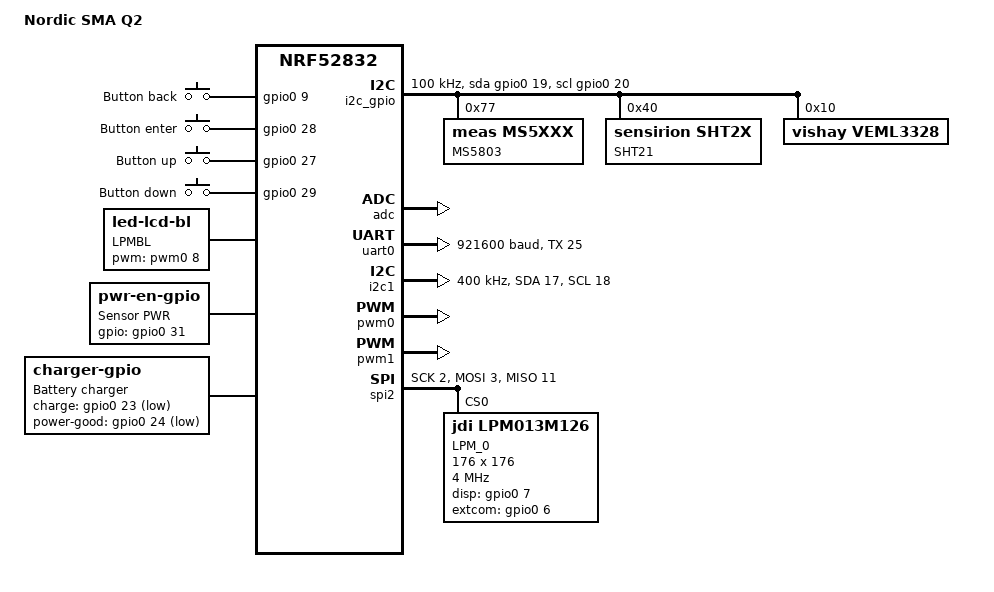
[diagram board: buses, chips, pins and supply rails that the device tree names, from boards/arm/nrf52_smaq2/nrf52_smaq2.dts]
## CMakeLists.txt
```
# SPDX-License-Identifier: Apache-2.0

cmake_minimum_required(VERSION 3.13.1)
# Re-direct the directory where the 'boards' directory is found from
# $ZEPHYR_BASE to this directory.
set(BOARD_ROOT ${CMAKE_CURRENT_LIST_DIR})

set(BOARD nrf52_smaq2)

include($ENV{ZEPHYR_BASE}/cmake/app/boilerplate.cmake NO_POLICY_SCOPE)
project(sma_q2_bringup)

target_sources(app PRIVATE 
	src/main.cpp
	src/inits.c
	src/charger.c
	src/lpm013m126.c
	src/backlight.c
	src/slowsensors.c
	src/fonts.c
	src/buttons.c
	src/msm/strservice.c
	src/bt.c
	src/rtc.c
	src/watchdog.c
	src/msm/msm_lpm13_drawer.cpp
	src/menu.cpp
	src/dispservice.cpp
	src/graph.c
	src/sensorlog.c
	src/calculs/meteomath.c
	src/calculs/daynight.c
	src/calculs/daynightimpl.c
	)

zephyr_library_include_directories(src/)
zephyr_library_include_directories(config/)
```

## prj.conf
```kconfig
CONFIG_CPLUSPLUS=y

CONFIG_FPU=y
CONFIG_NEWLIB_LIBC=y

CONFIG_ADC=y
CONFIG_PWM=y
CONFIG_WATCHDOG=y

# FIX hang
CONFIG_ZERO_LATENCY_IRQS=y

#Need this for debug only
#CONFIG_DEBUG_OPTIMIZATIONS=y
#stack
CONFIG_MAIN_STACK_SIZE=2048

#Debug
#CONFIG_SHELL=y
#CONFIG_KERNEL_SHELL=y
#CONFIG_THREAD_MONITOR=y
#CONFIG_THREAD_NAME=y
#CONFIG_INIT_STACKS=y
#CONFIG_THREAD_STACK_INFO=y
#CONFIG_REBOOT=y
#CONFIG_GPIO_SHELL=y
CONFIG_LOG=y

# Incresed stack due to settings API usage
CONFIG_SYSTEM_WORKQUEUE_STACK_SIZE=2048

CONFIG_BT=y
#CONFIG_BT_DEBUG_LOG=y
CONFIG_BT_SMP=y
CONFIG_BT_SIGNING=y
CONFIG_BT_PERIPHERAL=y
CONFIG_BT_ATT_PREPARE_COUNT=5
CONFIG_BT_MAX_PAIRED=4
CONFIG_BT_BAS=y
#CONFIG_BT_PRIVACY=y
CONFIG_BT_DEVICE_NAME="Zephyr Peripheral Sample Long Name"
CONFIG_BT_DEVICE_APPEARANCE=0
CONFIG_BT_DEVICE_NAME_DYNAMIC=y
CONFIG_BT_DEVICE_NAME_MAX=40
#BT timing
CONFIG_BT_PERIPHERAL_PREF_MIN_INT=24
CONFIG_BT_PERIPHERAL_PREF_MAX_INT=80
CONFIG_BT_PERIPHERAL_PREF_TIMEOUT=100
CONFIG_BT_KEYS_OVERWRITE_OLDEST=y
CONFIG_BT_SETTINGS=y

CONFIG_FLASH=y
CONFIG_FLASH_PAGE_LAYOUT=y
CONFIG_FLASH_MAP=y
CONFIG_FCB=y
CONFIG_SETTINGS=y
CONFIG_SETTINGS_FCB=y

# CONFIG_BT_DEBUG_SMP=y
#Number of connections. Leave 1 pls.
CONFIG_BT_MAX_CONN=1

# Large MTU
#CONFIG_BT_HCI_ACL_FLOW_CONTROL=y
#CONFIG_BT_ACL_RX_COUNT=4
#CONFIG_BT_L2CAP_TX_MTU=512
#CONFIG_BT_L2CAP_RX_MTU=512
#CONFIG_BT_CTLR_TX_BUFFER_SIZE=248
#CONFIG_BT_CTLR_DATA_LENGTH_MAX=248

#PM
CONFIG_SYS_POWER_MANAGEMENT=y
# This is not requred and caused freezing
#CONFIG_SYS_POWER_DEEP_SLEEP_STATES=y
# Required to disable default behavior of deep sleep on timeout
# CONFIG_SYS_PM_STATE_LOCK=y
CONFIG_DEVICE_POWER_MANAGEMENT=y

#Move to Bitbang I2C due to NRF i2c issue
CONFIG_I2C=y
CONFIG_I2C_GPIO=y

#FIXME
CONFIG_LEGACY_DEVICETREE_MACROS=y
```

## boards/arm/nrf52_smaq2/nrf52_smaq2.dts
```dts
/*
 *
 * SPDX-License-Identifier: Apache-2.0
 */

/dts-v1/;

#include <nordic/nrf52832_qfaa.dtsi>

/ {
    model = "Nordic SMA Q2";
    compatible = "nordic,sma-q2";

    chosen {
        zephyr,console = &uart0;
        zephyr,shell-uart = &uart0;
        zephyr,bt-mon-uart = &uart0;
        zephyr,bt-c2h-uart = &uart0;
        zephyr,sram = &sram0;
        zephyr,flash = &flash0;
        zephyr,code-partition = &slot0_partition;
    };

    /* These aliases are provided for compatibility with samples */
    aliases {
        sw0 = &button_back;
        watchdog0 = &wdt0;
    };

    buttons {
        compatible = "gpio-keys";
        button_back: button_back {
            gpios = <&gpio0 9 GPIO_PULL_UP>;
            label = "Button back";
        };
        button_enter: button_enter {
            gpios = <&gpio0 28 GPIO_PULL_UP>;
            label = "Button enter";
        };
        button_up: button_up {
            gpios = <&gpio0 27 GPIO_PULL_UP>;
            label = "Button up";
        };
        button_down: button_down {
            gpios = <&gpio0 29 GPIO_PULL_UP>;
            label = "Button down";
        };
    };
    backlight: backlight0 {
        compatible = "led-lcd-bl";
        // gpios = <&gpio0 8 0>;
        pwms = <&pwm0 8>;
        label = "LPMBL";
    };
    poweron: sensor-power-gpio {
        compatible = "pwr-en-gpio";
        gpios = <&gpio0 31 0>;
        label = "Sensor PWR";
    };

    charger_gpio: charger_gpio0 {
        compatible = "charger-gpio";
        charge-gpios = <&gpio0 23 GPIO_ACTIVE_LOW>;
        power-good-gpios = <&gpio0 24 GPIO_ACTIVE_LOW>;
        label = "Battery charger";
    };

    vbat-adc-mon {
        compatible = "adc-vbat";
        adcs = <&adc>;
        gain_nom = < 1 >;
        gain_denom = < 2 >;
        channel = < 3 >;
        multiplyer = <4800>;
        shift = <12>;
        label = "Battery_monitor";
    };

    i2c_gpio {
        clock-frequency = <I2C_BITRATE_STANDARD>;
        compatible = "gpio-i2c";
        sda-gpios = <&gpio0 19 (GPIO_SINGLE_ENDED | GPIO_OPEN_DRAIN) >;
        scl-gpios = <&gpio0 20 (GPIO_SINGLE_ENDED | GPIO_OPEN_DRAIN) >;
        status = "okay";
        label = "SENSOR_I2C";
        #address-cells = <1>;
        #size-cells = <0>;
        ms5803@77 {
            compatible = "meas,ms5xxx";
            reg = <0x77>;
            label = "MS5803";
            model_num = <5803>;
        };
        sht21@40 {
            compatible = "sensirion,sht2x";
            reg = <0x40>;
            label = "SHT21";
        };
        veml3328@10 {
            compatible = "vishay,veml3328";
            reg = <0x10>;
            label = "VEML3328";
        };
    };
};

&adc {
    status = "okay";
    #adc-cells = <0>;
};

&gpiote {
    status = "okay";
};

&gpio0 {
    status = "okay";
};

&uart0 {
    status = "okay";
    compatible = "nordic,nrf-uart";
    current-speed = <921600>;
    tx-pin = <25>;
    /* rx-pin = <26>; */
};

/*&i2c0 {
    clock-frequency = <I2C_BITRATE_FAST>;
    compatible = "nordic,nrf-twim";
    sda-pin = <19>;
    scl-pin = <20>;
    status = "okay";
    ms5803@77 {
        compatible = "meas,ms5xxx";
        reg = <0x77>;
        label = "MS5803";
        model_num = <5803>;
    };
    sht21@40 {
        compatible = "sensirion,sht2x";
        reg = <0x40>;
        label = "SHT21";
    };
    veml3328@10 {
        compatible = "vishay,veml3328";
        reg = <0x10>;
        label = "VEML3328";
    };
};*/

&i2c1 {
/*    status = "okay"; */
    clock-frequency = <I2C_BITRATE_FAST>;
    compatible = "nordic,nrf-twim";
    sda-pin = <17>;
    scl-pin = <18>;
};


&pwm0 {
    status = "okay";
    ch0-pin = <8>;
};

&pwm1 {
    status = "okay";
    ch0-pin = <6>;
};

&spi2 {
    compatible = "nordic,nrf-spim";
    status = "okay";
    sck-pin = <2>;
    mosi-pin = <3>;
    miso-pin = <11>;
    label = "SPI_2";
    lpm013mc126@0 {
        compatible = "jdi,lpm013m126";
        reg = <0>;
        spi-max-frequency = <4000000>;
        label = "LPM_0";
        width = <176>;
        height = <176>;
        cs-gpios = <&gpio0 5 0>;
        disp-gpios = <&gpio0 7 0>;
        extcom-gpios = <&gpio0 6 0>;
        #pwm-cells = <1>;
        // pwms = <&pwm1 6>;
    };        
};


&flash0 {
    /*
     * If chosen's zephyr,code-partition
     * is unset, the image will be linked
     * into the entire flash device.  If
     * it points to an individual
     * partition, the code will be linked
     * to, and restricted to that
     * partition.
     */
    partitions {
        compatible = "fixed-partitions";
        #address-cells = <1>;
        #size-cells = <1>;

        boot_partition: partition@0 {
            label = "mcuboot";
            reg = <0x00000000 0xc000>;
        };
        slot0_partition: partition@c000 {
            label = "image-0";
            reg = <0x0000C000 0x32000>;
        };
        slot1_partition: partition@3e000 {
            label = "image-1";
            reg = <0x0003E000 0x32000>;
        };
        scratch_partition: partition@70000 {
            label = "image-scratch";
            reg = <0x00070000 0xa000>;
        };

        /*
         * The flash starting at 0x0007a000 and ending at
         * 0x0007ffff (sectors 122-127) is reserved for use
         * by the application. If enabled, partition for NFFS
         * will be created in this area.
         */
        storage_partition: partition@7a000 {
            label = "storage";
            reg = <0x0007a000 0x00006000>;
        };
    };
};
// Connector pinout:
// --------------------------------------------------------
// |  GND     |          |          |          | 3.3V LDO |
// |          |          |          |          | Enable:  |
// |          |          |          |          |  P31     |
// |          |          |          |          |          |
// |          |          |          |          |          |
// --------------------------------------------------------
// |          |          |          |          |          |
// |  P20     |  P19     |  P22     |  P10     |  GND     |
// |  SCL     |  SDA     |          |          |          |
// |  10k PU  |  10k PU  |          |          |          |
// |          |          |          |          |          |
// --------------------------------------------------------
```

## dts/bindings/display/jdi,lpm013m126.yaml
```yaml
title: JDI Memory LCD

description: >
    This is a LMP***m** display accessed through SPI bus,
    polarity controlled by PWM or GPIO

compatible: "jdi,lpm013m126"

include: spi-device.yaml

properties:
    cs-gpios:
      type: phandle-array
      required: true
    disp-gpios:
      type: phandle-array
      required: true
    extcom-gpios:
      type: phandle-array
      required: false
    pwms:
      type: phandle-array
      required: false
    "#pwm-cells":
      type: int
      required: false
      const: 1      
    width:
      type: int
      required: true
    height:
      type: int
      required: true
```

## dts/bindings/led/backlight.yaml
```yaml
title: LED Backlight

description: LED Backlight for LCD

compatible: "led-lcd-bl"

properties:
        pwms:
          type: phandle-array
          required: false
        gpios:
          type: phandle-array
          required: false
        label:
          type: string
          required: false
          description: Human readable string describing the device (used by Zephyr for API name)
```

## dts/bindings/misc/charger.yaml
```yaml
title: Battery charger GPIO

description: GPIO showing battery charger status

compatible: "charger-gpio"

properties:
        charge-gpios:
          type: phandle-array
          required: true
        power-good-gpios:
          type: phandle-array
          required: true
        label:
          type: string
          required: false
          description: Human readable string describing the device (used by Zephyr for API name)
```

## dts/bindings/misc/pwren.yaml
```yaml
title: Power enable GPIO

description: This GPIO would be set to 1 at startup

compatible: "pwr-en-gpio"

properties:
        gpios:
          type: phandle-array
          required: true
        label:
          type: string
          required: false
          description: Human readable string describing the device (used by Zephyr for API name)
```

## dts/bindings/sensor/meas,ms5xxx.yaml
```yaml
title: TE Connectivity digital pressure sensor MS5611, MS5803 or MS5837

description: |
    This binding gives a base representation of the MS5611, MS5803 or MS5837 digital pressure
    sensor

compatible: "meas,ms5xxx"

include: i2c-device.yaml

properties:
    model_num:
      type: int
      required: false
```

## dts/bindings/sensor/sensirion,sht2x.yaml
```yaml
title: Sensirion humidity and temperature sensor SHT20, SHT21 or SHT25

description: |
    This binding gives a base representation of the  SHT20, SHT21 or SHT25
    humidity and temperature sensor

compatible: "sensirion,sht2x"

include: i2c-device.yaml
```

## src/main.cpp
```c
#include <zephyr.h>
#include <sys/printk.h>
#include <kernel.h>

#define LOG_LEVEL 4
#include <logging/log.h>
LOG_MODULE_REGISTER(app);

#include <drivers/adc.h>
#include <drivers/gpio.h>
#include <drivers/pwm.h>
#include "lpm013m126.h"
#include "backlight.h"
#include "slowsensors.h"
#include "fonts.h"
#include "buttons.h"
#include "bt.h"
#include "menu.h"
#include "rtc.h"
#include "ui-config.h"
#include "dispservice.h"
#include "watchdog.h"
#include "graph.h"
#include "sensorlog.h"

#define CONSOLE_LABEL DT_LABEL(DT_CHOSEN(zephyr_console))

#if UI_PRESENT
typedef enum {
    dm_digital_clock = 0,
    dm_meteo_graph_fast = 1,
    dm_meteo_graph_hist = 2,
} display_mode_e;

typedef bool (*drawer_f)(bool);
typedef bool (*keyProcessor_f)(int, int);
typedef void (*activator_f)(int);

typedef struct displayHandler_s {
    drawer_f drawer;
    keyProcessor_f keyProcessor;
    activator_f activator;
} displayHandler_t;

static const displayHandler_t displayDispatch[] = {
    {
        .drawer = displayClockTimeAndPressure,
    },
    {
        .drawer = drawGraphFast,
        .keyProcessor = graphFastKeys,
        .activator = slowsensorsSetFastRun,
    },
    {
        .drawer = drawGraphHist,
        .keyProcessor = graphHistKeys,
    },
    {
        .drawer = displayLuxInfo,
        .activator = slowsensorsSetFastRun,
    },    
};

static const uint8_t keyMap[] = {MSM_KEY_ESC,MSM_KEY_ENTER,MSM_KEY_UP,MSM_KEY_DOWN};

#define COUNTS_TO_DROP 2

void uiDropKeyCount(int32_t *key, int32_t *count){
    if (*count) {
        if (*count > COUNTS_TO_DROP){
            *count -= COUNTS_TO_DROP;
        }else {
            *key = 0;
        }
    }
}

static bool uiDisplayIdle(bool force, unsigned int dm){
#ifdef CONFIG_LOG    
    uint32_t before = k_cycle_get_32();
#endif
    if (dm >= sizeof(displayDispatch)/sizeof(displayDispatch[0])){
        LOG_ERR("Wrong display mode %d, set to 0", dm);
        dm = 0;
    }
    bool res = displayDispatch[dm].drawer ? displayDispatch[dm].drawer(force) : false;
#ifdef CONFIG_LOG    
    if (res){
        uint32_t after = k_cycle_get_32();
        LOG_DBG("Idle screen %d drawn in %dms", dm, (1000U*(after - before))/sys_clock_hw_cycles_per_sec());
    }
#endif
    return res;
}

static void uiActivate(int arg, unsigned int dm){
    if (dm >= sizeof(displayDispatch)/sizeof(displayDispatch[0])){
        LOG_ERR("Wrong display mode %d, ignore", dm);
        return;
    }
    if (displayDispatch[dm].activator) displayDispatch[dm].activator(arg);
}

static bool uiKeyProcess(int key, int count, unsigned int dm){
    if (dm >= sizeof(displayDispatch)/sizeof(displayDispatch[0])){
        LOG_ERR("Wrong display mode %d, ignore", dm);
        return false;
    }
    return displayDispatch[dm].keyProcessor ? displayDispatch[dm].keyProcessor(key, count) : false;
}

static void uiLoopRun()
{
    int32_t keyin,key,count;
    unsigned int displayModeIndex = 0;
    MSMDrawer drawer(DEF_MENU_PAD + CHAR_W, MIN_LINE_DO + DEF_MENU_PAD, MENU_CHARS_IN_LINE, COL_MENU_TEXT_FRONT, COL_MENU_TEXT_BACK, COL_MENU_SEL_FRONT, COL_MENU_SEL_BACK, COL_MENU_BKG);
    menuLateInitDemo();
    uiActivate(1, displayModeIndex);
    while (1){
        process_button_status(&keyin, &count, 1);
        bool update = false;
        if (keyin >= 0){
            key = keyMap[keyin];
            count--; // compatibility buttons to MSM;
            uiDropKeyCount(&key, &count);
            if (shouldProlongateBl()) lcd_bl_prolongate(1);
            //update = true;
        }else{
            key = 0;
            count = 0;
        }
        if (!(menuIsOpen())){
            if ((MSM_KEY_ENTER == key) && (0 == count)) menuOpen();
            bool keyProcessF = false;
            if ((MSM_KEY_DOWN == key) || (MSM_KEY_UP == key) || (MSM_KEY_ESC == key)) {
                keyProcessF =  uiKeyProcess(key, count, displayModeIndex);
            }            
            if (!keyProcessF && (MSM_KEY_ESC == key) && (0 == count)) {
                uiActivate(0, displayModeIndex);
                if (++displayModeIndex >= sizeof(displayDispatch)/sizeof(displayDispatch[0])) displayModeIndex = 0;
                update = true;
                uiActivate(1, displayModeIndex);
            }

        }else{
           update = menuProcessKeys(key,count);
        }
        if (key) LOG_DBG("Key %d count %d done", key, count);
        if (menuIsOpen()){
            uint32_t before = k_cycle_get_32();
            drawer.draw(getMenuDisplay());
            uint32_t after = k_cycle_get_32();
            int ms = (1000U*(after - before))/sys_clock_hw_cycles_per_sec();
            if (ms) LOG_DBG("Menu drawn in %dms", ms);
        } else {
            uiDisplayIdle(update, displayModeIndex);
        }
        
        updateLoopNum(); // TODO: remove after demo removed
        update |= displayStatusBar(false);
        update |= displayInfoBar(false);

        wdt_prolongate();
        int delay_ms = key ? 100 : 500;        
        k_sleep(K_MSEC(delay_ms));
    }
}
#endif

void main(void)
{
    int ret;
    wdt_configure();
    lcd_disoff();
    buttons_init();
    rtc_init();
    rtc_set_date_time(20,07,22,21,00,00);
    sensorLogFill();
    bt_init();
    for(int i = 0; i < 10; ++i){
        k_sleep(K_MSEC(100));
        wdt_prolongate();
    }
    slowsensors_init();

    ret = lcd_init();
    lcd_bl_init();
    lcd_clear();
    buttons_set_listener(k_current_get());
    for(int i = 0; i < 10; ++i){
        k_sleep(K_MSEC(100));
        wdt_prolongate();
    }
#if (not defined(CONFIG_LOG)) && (not defined(CONFIG_SHELL))
    struct device *cons = device_get_binding(CONSOLE_LABEL);
    device_set_power_state(cons, DEVICE_PM_LOW_POWER_STATE, NULL, NULL);
#endif
#if UI_PRESENT
    uiLoopRun();
#endif
    while(1){
        k_sleep(K_MSEC(100));
        wdt_prolongate();        
    }
}
```

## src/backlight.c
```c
#include <zephyr.h>
#include <sys/printk.h>
#include <kernel.h>
#include <drivers/gpio.h>
#include <drivers/pwm.h>

#include "backlight.h"

#define LOG_LEVEL 2
#include <logging/log.h>
LOG_MODULE_REGISTER(backlight);


#define BL_NODE DT_NODELABEL(backlight)
#define BL_NAME DT_LABEL(BL_NODE)
#if DT_NODE_EXISTS(BL_NODE)

#define BL_PRIORITY          0
#define BL_STACKSIZE         512

static struct device * lcd_bl_gpio_dev;
static struct device * lcd_bl_pwm_dev;
static int lcd_bl_pin = -1;

static uint32_t lcd_deadline = 0;
static uint32_t lcd_delay_ticks;
static int lcd_fadeout_period = FADE_TIME_MS;
static uint8_t g_bl_on_flag = 0;
static uint8_t g_bl_enable_flag = 1;

static void (*bl_on_off_event)(int) = NULL;

void lcd_bl_set_onoff_event(void(*event)(int)){
    bl_on_off_event = event;
}

static int32_t bl_ms_left(void){
    uint32_t left32 = lcd_deadline - k_cycle_get_32();
    if (left32 < 0x7fffffff) return (1000U * left32)/sys_clock_hw_cycles_per_sec();
    lcd_deadline = k_cycle_get_32() - 1;
    return -1;
}

static inline void lcd_bl_on(){
    if ((bl_on_off_event) && (!g_bl_on_flag)) bl_on_off_event(1);
    g_bl_on_flag = 1;
    if (lcd_bl_pin < 0) return;
    if (lcd_bl_pwm_dev) {
        pwm_pin_set_usec(lcd_bl_pwm_dev, lcd_bl_pin, FADE_PERIOD_US, FADE_PERIOD_US, 0);
        LOG_DBG("BL is on: PWM");
    } else {
        gpio_pin_set(lcd_bl_gpio_dev, lcd_bl_pin, 1);
        LOG_DBG("BL is on: GPIO");
    }
}

static inline void lcd_bl_off(){
    if ((bl_on_off_event) && (g_bl_on_flag)) bl_on_off_event(0);
    g_bl_on_flag = 0;
    if (lcd_bl_pin < 0) return;
    if (lcd_bl_pwm_dev) {
        pwm_pin_set_usec(lcd_bl_pwm_dev, lcd_bl_pin, FADE_PERIOD_US, 0, 0);
        LOG_DBG("BL is off: PWM");
    } else {
        gpio_pin_set(lcd_bl_gpio_dev, lcd_bl_pin, 0);   
        LOG_DBG("BL is off: GPIO");
    }
}

static void lcd_bl_entry(void* p1, void * p2, void * p3){
    (void) p1;
    (void) p2;
    (void) p3;
    while (1){
        int left_ms;
        while ((left_ms = bl_ms_left()) > 0){
            int time_to_sleep = (lcd_bl_pwm_dev) ? left_ms - lcd_fadeout_period : left_ms;
            LOG_DBG("BL is on, %d ms left",left_ms);
            if ((lcd_bl_pwm_dev) && (left_ms < lcd_fadeout_period)) {
                time_to_sleep = FADE_STEP_MS;
                int pulse_us = (FADE_PERIOD_US * left_ms)/ lcd_fadeout_period;
                pwm_pin_set_usec(lcd_bl_pwm_dev, lcd_bl_pin, FADE_PERIOD_US, pulse_us, 0);
            } else {
                lcd_bl_on();
            }
            k_sleep(K_MSEC(time_to_sleep));
        }
        LOG_DBG("Turning BL off");
        lcd_bl_off();
        k_sleep(K_MINUTES(10));
    }
}

void lcd_bl_set_timeout_ms(unsigned int ms){
    lcd_delay_ticks = (sys_clock_hw_cycles_per_sec() * ms)/1000U;
    LOG_DBG("BL timeout is set to %d ms", ms);
}

unsigned int lcd_bl_get_timeout_ms(){
    unsigned int div = sys_clock_hw_cycles_per_sec();
    if (0 == div) div = 1;
    return lcd_delay_ticks * 1000U / div;
}

K_THREAD_STACK_DEFINE(lcd_bl_stack, BL_STACKSIZE);
struct k_thread lcd_bl_thread_data;
k_tid_t lcd_bl_tid;

void lcd_bl_prolongate(int force){
    if (!g_bl_enable_flag) return;
    if (force || (bl_ms_left() >= 0)){
        lcd_deadline = lcd_delay_ticks + k_cycle_get_32();
        LOG_DBG("Prolongate BL, deadline updated, force = %d", force);
    } else {
        LOG_DBG("Prolongate BL, no deadline update (BL is off)");
    }
    if (lcd_bl_tid) k_wakeup(lcd_bl_tid);
}

int lcd_bl_enable_get(){
    return g_bl_enable_flag;
}

void lcd_bl_enable_set(int enable){
    g_bl_enable_flag = enable;
    if (!enable){
        uint32_t new_deadline = k_cycle_get_32();
        if (lcd_bl_pwm_dev) new_deadline += lcd_fadeout_period;
        lcd_deadline = new_deadline;
        if (lcd_bl_tid) k_wakeup(lcd_bl_tid);
    }
}

int lcd_is_bl_on(){
    return g_bl_on_flag;
}

void lcd_bl_init(void)
{
#if DT_NODE_EXISTS(DT_PROP(BL_NODE, gpios))    
    lcd_bl_gpio_dev = device_get_binding(DT_GPIO_LABEL(BL_NODE, gpios));
#endif
    if (!(lcd_bl_gpio_dev)){
        LOG_INF("LCD BL GPIO not found!");
    } else {
#if DT_NODE_EXISTS(DT_PROP(BL_NODE, gpios)) 
        lcd_bl_pin = DT_GPIO_PIN(BL_NODE, gpios);
        int ret;
        if ((ret = gpio_pin_configure(lcd_bl_gpio_dev, lcd_bl_pin, GPIO_OUTPUT)) < 0){
            LOG_ERR("BL pin config error %d!", ret);
            return;
        }
#endif   
    }
#if DT_NODE_EXISTS(DT_PROP(BL_NODE, pwms))
    lcd_bl_pwm_dev = device_get_binding(DT_PWMS_LABEL(BL_NODE));
#endif
    if (!(lcd_bl_pwm_dev)){
        LOG_INF("LCD BL PWM not found!");
    } else {
#if DT_NODE_EXISTS(DT_PROP(BL_NODE, pwms))
        lcd_bl_pin = DT_PWMS_CHANNEL(BL_NODE);
#endif
    }

    lcd_bl_set_timeout_ms(DEFAULT_BL_TIMEOUT_MS);
    
    if ( (!lcd_bl_tid) && ((lcd_bl_gpio_dev) || (lcd_bl_pwm_dev))) {
        lcd_bl_tid = k_thread_create(&lcd_bl_thread_data, lcd_bl_stack,
                                 K_THREAD_STACK_SIZEOF(lcd_bl_stack),
                                 lcd_bl_entry,
                                 NULL, NULL, NULL,
                                 BL_PRIORITY, 0, K_NO_WAIT);
        if (lcd_bl_tid) k_thread_name_set(lcd_bl_tid, "LCD bl ctl");
    } else {
        LOG_ERR("COULD not locate BL GPIO or PWM device");
    }
}
#endif
```

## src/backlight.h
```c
#ifndef _BACKLIGHT_H
#define _BACKLIGHT_H

#define DEFAULT_BL_TIMEOUT_MS 10000
#define FADE_TIME_MS           1000
#define FADE_STEP_MS             10
#define FADE_PERIOD_US         1000

#ifdef __cplusplus
extern "C" {
#endif

#ifdef DT_INST_0_LED_LCD_BL

void lcd_bl_set_timeout_ms(unsigned int ms);
unsigned int lcd_bl_get_timeout_ms();
void lcd_bl_prolongate(int force);
void lcd_bl_init(void);
void lcd_bl_set_onoff_event(void(*event)(int));
int lcd_is_bl_on(void);


#else // DT_INST_0_LED_LCD_BL
static inline void lcd_bl_set_timeout_ms(unsigned int ms){(void)ms;}
static inline unsigned int lcd_bl_get_timeout_ms() {return 0;}
static inline void lcd_bl_prolongate(int force){(void)force;}
static inline void lcd_bl_init(void){}
static inline void lcd_bl_set_onoff_event(void(*event)(int)){(void)event;}
static inline int lcd_is_bl_on(void){return 0;}
#endif

#ifdef __cplusplus
}
#endif

#endif
```

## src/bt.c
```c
#include <zephyr.h>
#include <kernel.h>
#include <settings/settings.h>
#include <bluetooth/bluetooth.h>
#include <bluetooth/hci.h>
#include <bluetooth/conn.h>
#include <bluetooth/uuid.h>
#include <bluetooth/gatt.h>
#include <bluetooth/services/bas.h>
#include <bluetooth/services/hrs.h>
#include "rtc.h"
#include "slowsensors.h"
#include "bt.h"
#include "sensorlog.h"

#define LOG_LEVEL 4
#include <logging/log.h>
LOG_MODULE_REGISTER(bt);

#define NOTIFY_STACK_SIZE    1024
#define NOTIFY_PRIORITY         2


typedef struct local_attr_info_s {
    uint16_t size;
    uint8_t *data_ptr;
    const struct bt_gatt_attr *attr_ptr;
    int (*getter)(uint8_t *data, uint16_t size);
    int (*setter)(const uint8_t *data, uint16_t size);
    uint8_t properties;
} local_attr_info_t;

typedef struct static_attr_info_s {
    uint16_t size;
    const void * data;
} static_attr_info_t;

uint8_t cts_storage[10];

static int setter_cts_time(const uint8_t *data, uint16_t size);
static int getter_cts_time(uint8_t *data, uint16_t size);

static int getter_ess_temperature(uint8_t *data, uint16_t size);
static int getter_ess_humidity(uint8_t *data, uint16_t size);
static int getter_ess_pressure(uint8_t *data, uint16_t size);

static int getter_mls_info(uint8_t *data, uint16_t size);

local_attr_info_t local_attrs[]={
    [LOCAL_ATTR_TIME - 1] = {
        .size = 10,
        .data_ptr =&cts_storage[0],
        .getter = getter_cts_time,
        .setter = setter_cts_time,
    },
    [LOCAL_ATTR_TEMPERATURE - 1] = {
        .size = 2,
        .data_ptr = NULL,
        .getter = getter_ess_temperature,
    },    
    [LOCAL_ATTR_PRESSURE - 1] = {
        .size = 4,
        .data_ptr = NULL,
        .getter = getter_ess_pressure,
    },    
    [LOCAL_ATTR_HUMIDITY - 1] = {
        .size = 2,
        .data_ptr = NULL,
        .getter = getter_ess_humidity,
    },
    [LOCAL_ATTR_MLS_INFO - 1] = {
        .size = sizeof(mls_info_t),
        .data_ptr = NULL,
        .getter = getter_mls_info,
    },
};

#define IS_ATTR_LOCAL(arg) (((uint32_t)arg >= (uint32_t)&local_attrs) && \
    ((uint32_t)arg < ((uint32_t)&local_attrs) + sizeof(local_attrs)) && \
    ( ((local_attr_info_t*)arg)->size ))

static int get_local_id(const local_attr_info_t * ptr){
    return (IS_ATTR_LOCAL(ptr)) ? 1 + (ptr - &local_attrs[0]) : 0;
}

static const local_attr_info_t * get_attr_by_local_id(uint16_t local_id){
    if (!(local_id)) return NULL;
    const local_attr_info_t * ptr = &local_attrs[local_id-1];
    return IS_ATTR_LOCAL(ptr) ? ptr: NULL;
}

static uint16_t find_static_handle_for_attr(const struct bt_gatt_attr *attr)
{
    uint16_t handle = 1;

    Z_STRUCT_SECTION_FOREACH(bt_gatt_service_static, static_svc) {
        for (int i = 0; i < static_svc->attr_count; i++, handle++) {
            if (attr == &static_svc->attrs[i]) {
                return handle;
            }
        }
    }
    return 0;
}

static const struct bt_gatt_attr *find_static_attr_by_handle(uint16_t f_handle)
{
    if (f_handle < 1) return NULL;
    uint16_t handle = 1;

        Z_STRUCT_SECTION_FOREACH(bt_gatt_service_static, static_svc) {
            /* Skip ahead if start is not within service handles */
            if (handle + static_svc->attr_count < f_handle) {
                handle += static_svc->attr_count;
                continue;
            }
            
            int i = f_handle - handle;
            return &static_svc->attrs[i];
        }
    return NULL;
}

static ssize_t read_static(struct bt_conn *conn, const struct bt_gatt_attr *attr,
            void *buf, uint16_t len, uint16_t offset)
{
    if (!attr->user_data) return BT_GATT_ERR(BT_ATT_ERR_OUT_OF_RANGE);

    const static_attr_info_t * desc = (static_attr_info_t*) attr->user_data;

    uint16_t size = desc->size;

    const uint8_t * value = (uint8_t*)desc->data;

    LOG_INF("Read static handle=0x%x ofs=0x%x len=0x%x", attr->handle , offset, len);

    return bt_gatt_attr_read(conn, attr, buf, len, offset, value, size);
}

static ssize_t read_def(struct bt_conn *conn, const struct bt_gatt_attr *attr,
            void *buf, uint16_t len, uint16_t offset)
{
    if (!IS_ATTR_LOCAL(attr->user_data)) return BT_GATT_ERR(BT_ATT_ERR_OUT_OF_RANGE);

    const local_attr_info_t * info = attr->user_data;
    uint8_t *value = info->data_ptr;
    const uint16_t size = info->size;

    LOG_INF("Read attr local_id=0x%x ofs=0x%x len=0x%x", get_local_id(info) , offset, len);

    if (value){
        if (info->getter){
            if (info->getter(value, size) < 0) return BT_GATT_ERR(BT_ATT_ERR_VALUE_NOT_ALLOWED);
        }
        return bt_gatt_attr_read(conn, attr, buf, len, offset, value, size);
    } else if (info->getter) {
        uint8_t tmp_buf[CONFIG_BT_L2CAP_TX_MTU];
        value = &tmp_buf[0];
        if (info->getter(value, size) < 0) return BT_GATT_ERR(BT_ATT_ERR_VALUE_NOT_ALLOWED);
        return bt_gatt_attr_read(conn, attr, buf, len, offset, value, size);
    }
    return BT_GATT_ERR(BT_ATT_ERR_READ_NOT_PERMITTED);
}

static ssize_t write_def(struct bt_conn *conn, const struct bt_gatt_attr *attr,
             const void *buf, uint16_t len, uint16_t offset,
             uint8_t flags)
{
    if (!IS_ATTR_LOCAL(attr->user_data)) return BT_GATT_ERR(BT_ATT_ERR_OUT_OF_RANGE);
    
    const local_attr_info_t * info = attr->user_data;
    uint8_t *value = info->data_ptr;

    if (!value) return BT_GATT_ERR(BT_ATT_ERR_WRITE_NOT_PERMITTED);

    const uint16_t size = info->size;

    if (offset + len > size) {
        return BT_GATT_ERR(BT_ATT_ERR_INVALID_OFFSET);
    }

    memcpy(value + offset, buf, len);
    if ((size - offset - len) > 0) memset(value + offset + len, 0, size - offset - len );

    LOG_INF("Write attr local_id=0x%x ofs=0x%x len=0x%x", get_local_id(info), offset, len);
    
    if (info->setter){
        if (info->setter(value, size) < 0) return BT_GATT_ERR(BT_ATT_ERR_VALUE_NOT_ALLOWED);
    }

    return len;
}

static ssize_t notify_def(int local_id, uint8_t * data){
    const local_attr_info_t * info = get_attr_by_local_id(local_id);
    if (!info) return -EINVAL;
    if (info->data_ptr){
        int res = 0;
        if (data) {
            memcpy(info->data_ptr, data, info->size);
            res = info->size;
        } else {
            if (info->getter) res = info->getter(info->data_ptr, info->size);
        }
        return (res > 0) ? bt_gatt_notify(NULL, info->attr_ptr, info->data_ptr, info->size) : -ENOENT;
    } else {
        uint8_t tmp_buf[CONFIG_BT_L2CAP_TX_MTU];
        int res = 0;
        if (data) {
            memcpy(tmp_buf, data, MIN(info->size, CONFIG_BT_L2CAP_TX_MTU));
            res = info->size;
        } else {
            if (info->getter) res = info->getter(&tmp_buf[0], info->size);
        }
        return (res > 0) ? bt_gatt_notify(NULL, info->attr_ptr, &tmp_buf[0], info->size) : -ENOENT;
    }
}

static void ccc_cfg_changed_def(const struct bt_gatt_attr *attr, uint16_t value)
{
    const struct bt_gatt_attr * attr1 = find_static_attr_by_handle(attr->handle - 1);
    LOG_WRN("Configuration for local id 0x%x: [%s%s]",
         get_local_id((local_attr_info_t *)(attr1->user_data)),
         (BT_GATT_CCC_NOTIFY == value) ? "Notify":"",
         (BT_GATT_CCC_INDICATE == value) ? "Indicate":"");
}

BT_GATT_SERVICE_DEFINE(cts_cvs,
    BT_GATT_PRIMARY_SERVICE(BT_UUID_CTS),
    BT_GATT_CHARACTERISTIC(BT_UUID_CTS_CURRENT_TIME, BT_GATT_CHRC_READ |
                   BT_GATT_CHRC_NOTIFY | BT_GATT_CHRC_WRITE,
                   BT_GATT_PERM_READ | BT_GATT_PERM_WRITE_AUTHEN,
                   read_def, write_def, &local_attrs[LOCAL_ATTR_TIME - 1]),
    BT_GATT_CCC(ccc_cfg_changed_def, BT_GATT_PERM_READ | BT_GATT_PERM_WRITE),
);

typedef struct  __attribute__((__packed__)) ess_measurement_desc_s  {
    uint8_t flags_lo;
    uint8_t flags_hi;
    uint8_t sampling_function;
    uint8_t period[3];
    uint8_t interval[3];
    uint8_t application;
    uint8_t uncertainity;
} ess_measurement_desc_t;

static const ess_measurement_desc_t ess_measurement_desc_def = {
    .flags_lo = 0,
    .flags_hi = 0,
    .sampling_function = 1, //instantaneous
    .period = {4, 0, 0},
    .interval = {4, 0, 0},
    .application = 1, //air
    .uncertainity = 1,
};

static const uint8_t ess_configuration = 1;
static const uint8_t ess_trigger_setting = {3};

static const static_attr_info_t ess_measurement_desc_info = {
    .size = sizeof(ess_measurement_desc_def),
    .data = &ess_measurement_desc_def,
};

static const static_attr_info_t ess_configuration_desc_info = {
    .size = sizeof(ess_configuration),
    .data = &ess_configuration,
};

static const static_attr_info_t ess_trigger_setting_info = {
    .size = sizeof(ess_trigger_setting),
    .data = &ess_trigger_setting,
};

BT_GATT_SERVICE_DEFINE(ess,
    BT_GATT_PRIMARY_SERVICE(BT_UUID_ESS),
    BT_GATT_CHARACTERISTIC(BT_UUID_TEMPERATURE, BT_GATT_CHRC_READ | BT_GATT_CHRC_NOTIFY,
                   BT_GATT_PERM_READ,
                   read_def, NULL, &local_attrs[LOCAL_ATTR_TEMPERATURE - 1]),
    BT_GATT_CCC(ccc_cfg_changed_def, BT_GATT_PERM_READ | BT_GATT_PERM_WRITE),
    BT_GATT_ATTRIBUTE(BT_UUID_ES_MEASUREMENT, BT_GATT_PERM_READ, read_static, NULL, (void*)&ess_measurement_desc_info),
    BT_GATT_ATTRIBUTE(BT_UUID_ES_CONFIGURATION, BT_GATT_PERM_READ, read_static, NULL, (void*)&ess_configuration_desc_info),
    BT_GATT_ATTRIBUTE(BT_UUID_ES_TRIGGER_SETTING, BT_GATT_PERM_READ, read_static, NULL, (void*)&ess_trigger_setting_info),

    BT_GATT_CHARACTERISTIC(BT_UUID_PRESSURE, BT_GATT_CHRC_READ | BT_GATT_CHRC_NOTIFY,
                   BT_GATT_PERM_READ,
                   read_def, NULL, &local_attrs[LOCAL_ATTR_PRESSURE - 1]),
    BT_GATT_CCC(ccc_cfg_changed_def, BT_GATT_PERM_READ | BT_GATT_PERM_WRITE),
    BT_GATT_ATTRIBUTE(BT_UUID_ES_MEASUREMENT, BT_GATT_PERM_READ, read_static, NULL, (void*)&ess_measurement_desc_info),
    BT_GATT_ATTRIBUTE(BT_UUID_ES_CONFIGURATION, BT_GATT_PERM_READ, read_static, NULL, (void*)&ess_configuration_desc_info),
    BT_GATT_ATTRIBUTE(BT_UUID_ES_TRIGGER_SETTING, BT_GATT_PERM_READ, read_static, NULL, (void*)&ess_trigger_setting_info),

    BT_GATT_CHARACTERISTIC(BT_UUID_HUMIDITY, BT_GATT_CHRC_READ | BT_GATT_CHRC_NOTIFY,
                   BT_GATT_PERM_READ,
                   read_def, NULL, &local_attrs[LOCAL_ATTR_HUMIDITY - 1]),
    BT_GATT_CCC(ccc_cfg_changed_def, BT_GATT_PERM_READ | BT_GATT_PERM_WRITE),
    BT_GATT_ATTRIBUTE(BT_UUID_ES_MEASUREMENT, BT_GATT_PERM_READ, read_static, NULL, (void*)&ess_measurement_desc_info),
    BT_GATT_ATTRIBUTE(BT_UUID_ES_CONFIGURATION, BT_GATT_PERM_READ, read_static, NULL, (void*)&ess_configuration_desc_info),
    BT_GATT_ATTRIBUTE(BT_UUID_ES_TRIGGER_SETTING, BT_GATT_PERM_READ, read_static, NULL, (void*)&ess_trigger_setting_info),
);

static ssize_t write_mls_message(struct bt_conn *conn, const struct bt_gatt_attr *attr,
             const void *buf, uint16_t len, uint16_t offset,
             uint8_t flags);

BT_GATT_SERVICE_DEFINE(mls,
    BT_GATT_PRIMARY_SERVICE(BT_UUID_DECLARE_128(UUID_MLS_SERVICE_INITIALIZER)),
    BT_GATT_CHARACTERISTIC(BT_UUID_DECLARE_128(UUID_MLS_INFO_INITIALIZER), BT_GATT_CHRC_READ | BT_GATT_CHRC_NOTIFY,
                   BT_GATT_PERM_READ,
                   read_def, NULL, &local_attrs[LOCAL_ATTR_MLS_INFO - 1]),
    BT_GATT_CCC(ccc_cfg_changed_def, BT_GATT_PERM_READ | BT_GATT_PERM_WRITE),     
    BT_GATT_CHARACTERISTIC(BT_UUID_DECLARE_128(UUID_MLS_MESSAGE_INITIALIZER), BT_GATT_CHRC_WRITE | BT_GATT_CHRC_NOTIFY,
                   BT_GATT_PERM_WRITE_AUTHEN,
                   NULL, write_mls_message, NULL),    
    BT_GATT_CCC(ccc_cfg_changed_def, BT_GATT_PERM_READ | BT_GATT_PERM_WRITE),    
);


static const struct bt_data ad[] = {
    BT_DATA_BYTES(BT_DATA_FLAGS, (BT_LE_AD_GENERAL | BT_LE_AD_NO_BREDR)),
    BT_DATA_BYTES(BT_DATA_UUID16_SOME,
              0x1A, 0x18, 0x05, 0x18),
};

#if CONFIG_LOG
char * bt_uuid_str(const struct bt_uuid *uuid){
    char buf[50];
    bt_uuid_to_str(uuid, buf, sizeof(buf));
    return log_strdup(buf);
}
#else
char * bt_uuid_str(const struct bt_uuid *uuid){
    static const char astr[] = "str";
    return (char*) astr;
}
#endif

static int setter_cts_time(const uint8_t *data, uint16_t size){
    int year = data[0] + (data[1] << 8);
    if ((year < 2000) || (year>=2100)) return -EINVAL;
    year -=2000;
    rtc_set_date_time(data[3], data[2], year, data[4], data[5], data[6]);
    return 0;
}

static int getter_cts_time(uint8_t *data, uint16_t size){
    if (size < 8) return -EINVAL;
    rtc_get_date_time_dow(&data[3],&data[2],&data[0],&data[4],&data[5],&data[6], &data[7]);
    uint16_t year_corr = 2000 + data[0];
    data[0] = year_corr & 0xff;
    data[1] = (year_corr >> 8);
    memset(&data[8], 0, size - 8);
    return 0;
}

static inline uint8_t * put_data_le(uint8_t * data, uint32_t to_put, int num){
    while(num--) {
        *data++ = to_put;
    to_put >>= 8;
    };
    return data;
}

static int getter_ess_temperature(uint8_t *data, uint16_t size){
    if (size < 2) return -EINVAL;
    int16_t temp16d2 = slowsensorsGetTemperature(0);
    /*data[0] = temp16d2 & 0xff;
    data[1] = temp16d2 >> 8;*/
    put_data_le(data, (uint32_t) temp16d2, 2);
    return 2;
}

static int getter_ess_humidity(uint8_t *data, uint16_t size){
    if (size < 2) return -EINVAL;
    uint32_t humidity16d2 = (slowsensorsGetHumidity(FLAG_SENSOR_RH_SHIFT8) * 100) >> 8;
    /*data[0] = humidity16d2 & 0xff;
    data[1] = humidity16d2 >> 8;*/
    put_data_le(data, humidity16d2, 2);
    return 2;
}

static int getter_ess_pressure(uint8_t *data, uint16_t size){
    if (size < 4) return -EINVAL;
    uint32_t pressure32d1 = slowsensorsGetPressure(0) * 10;
    /*data[0] = pressure32d1 & 0xff;
    data[1] = (pressure32d1 >> 8) & 0xff;
    data[2] = (pressure32d1 >> 16) & 0xff;
    data[3] = (pressure32d1 >> 24) & 0xff;*/
    put_data_le(data, pressure32d1, 4);
    return 4;
}

static int getter_mls_info(uint8_t *data, uint16_t size){
    if (size < sizeof(mls_info_t)) return -EINVAL;
    int used = getLogUsed();
    int pos;
    uint32_t time;
    getLogPosTime(&pos, &time);
    data = put_data_le(data, used, 2);
    data = put_data_le(data, LOG_MINUTE_INTERVAL * 60, 2);
    data = put_data_le(data, time, 4);
    data = put_data_le(data, getLogPoint(pos), 4);
    if (--pos < 0) pos = getLogSize() - 1;
    data = put_data_le(data, (used) ? getLogPoint(pos): 0, 4);
    return sizeof(mls_info_t);
}

K_THREAD_STACK_DEFINE(notify_stack, NOTIFY_STACK_SIZE);

static struct k_work_q notify_work_q;
static struct k_work mls_notify_work;
static uint32_t mls_notify_arg;
static struct bt_conn * mls_conn;


static ssize_t write_mls_message(struct bt_conn *conn, const struct bt_gatt_attr *attr,
             const void *buf, uint16_t len, uint16_t offset,
             uint8_t flags)
{
    if ((0 != offset) || (6 != len)) return BT_GATT_ERR(BT_ATT_ERR_WRITE_NOT_PERMITTED);

    uint8_t * data = (uint8_t*) buf;
    uint32_t req_time = data[0] + (data[1] << 8) + (data[2] << 16) + (data[3] << 24) ;
    int req_count = data[4] + (data[5] << 8);
    int cur_pos = 0;
    uint32_t cur_time = 0;
    getLogPosTime(&cur_pos, &cur_time);

    if (req_time > cur_time){
        LOG_WRN("request in future: req_time=%d cur_time=%d", req_time, cur_time);
        return BT_GATT_ERR(BT_ATT_ERR_WRITE_NOT_PERMITTED);
    }
    int req_pos = cur_pos - (cur_time - req_time)/(60 * LOG_MINUTE_INTERVAL);

    if (req_pos < 0) req_pos += getLogSize();
    if (req_pos < 0) {
        LOG_WRN("request too far in the past: req_time=%d cur_time=%d", req_time, cur_time);
        return BT_GATT_ERR(BT_ATT_ERR_WRITE_NOT_PERMITTED);        
    }
    if (mls_conn){
        LOG_WRN("Another request in progress");    
        return BT_ATT_ERR_PREPARE_QUEUE_FULL;
    }

    LOG_INF("Start meteo log serivce send from pos %d, count %d", req_pos, req_count);

    mls_notify_arg = (req_pos << 16) + req_count;
    mls_conn = conn;

    k_work_submit_to_queue(&notify_work_q, &mls_notify_work);
    
    return len;
}

void get_mtu_min(struct bt_conn *conn, void *data){
    int *mtu = (int *) data;
    int cmtu = bt_gatt_get_mtu(conn);
    if (cmtu > 0) {
        if ((0 == *mtu) || (*mtu > cmtu)) *mtu = cmtu;
    }
}

static void mls_send(struct k_work *item){
    (void) item;
    uint32_t points_count = mls_notify_arg;
    int32_t pos = points_count >> 16;
    points_count &= 0xffff;
    int mtu = 0;
    bt_conn_foreach(BT_CONN_TYPE_ALL, get_mtu_min, &mtu);
    if (!mtu) mtu = 23;
    int points_per_msg = (mtu - 3 - 2)/4; //TODO: derive from MTU;
    uint8_t buf[CONFIG_BT_L2CAP_TX_MTU];
    int packet = 0;
    LOG_INF("MLS: start");
    while (points_count) {
        uint8_t * dptr = put_data_le(&buf[0], packet, 2);
        int num_points = MIN(points_count, points_per_msg);
        for (int point = 0; point < num_points; ++point){
            dptr = put_data_le(dptr, getLogPoint(pos--), 4);
            if (pos < 0) pos = getLogSize() - 1;
        }
        points_count -= num_points;
        bt_gatt_notify(mls_conn, &mls.attrs[4], buf, 2 + (num_points << 2));
        LOG_DBG("MLS: sent packet %d, %d points left", packet, points_count);         
        ++packet;
    }
    LOG_INF("MLS: sent %d packets", packet);
    mls_conn = 0;
}

static uint8_t local_adv;
static uint8_t local_conn;

static uint32_t bt_sec_levels[CONFIG_BT_MAX_CONN];

static void connected(struct bt_conn *conn, uint8_t err)
{
    if (err) {
        LOG_INF("Connection failed (err %u)", err);
    } else {
        LOG_INF("Connected");
        ++local_conn;
        if (conn){
            int index = bt_conn_index(conn);
            bt_sec_levels[index] = 0x100;
        }
    }
}

static void disconnected(struct bt_conn *conn, uint8_t reason)
{
    LOG_INF("Disconnected (reason %u)", reason);
    if (local_conn > 0) --local_conn;
    if (conn){
        int index = bt_conn_index(conn);
        bt_sec_levels[index] = 0;
    }
}

static void param_updated(struct bt_conn *conn, uint16_t interval, uint16_t latency, uint16_t timeout){
        int mtu = bt_gatt_get_mtu(conn);

        int ibp = (5 * interval) / 4;
        int iap = (125*interval) % 100;

        int lbp = (5 * latency) / 4;
        int lap = (125*latency) % 100;
    
        LOG_WRN("Connection params updated, MTU = %u, interval=%d.%02dms, latency=%d.%02dms, timeout = %dms", mtu,
            ibp, iap, lbp, lap, 10 * timeout);
}

static void security_changed(struct bt_conn *conn, bt_security_t level, enum bt_security_err err){
    LOG_INF("Security changed to (%d) result:%d", level, err);
    if (conn){
        int index = bt_conn_index(conn);
        bt_sec_levels[index] = 0x100 + level;
    }
}

static struct bt_conn_cb conn_callbacks = {
    .connected = connected,
    .disconnected = disconnected,
    .le_param_updated = param_updated,
    .security_changed = security_changed,
};

static int g_passkey = -1;

static void auth_passkey_display(struct bt_conn *conn, unsigned int passkey)
{
    char addr[BT_ADDR_LE_STR_LEN];

    bt_addr_le_to_str(bt_conn_get_dst(conn), addr, sizeof(addr));

    g_passkey = passkey; 

    LOG_WRN("Passkey for %s: %06u", log_strdup(addr), passkey);
}

static void auth_cancel(struct bt_conn *conn)
{
    char addr[BT_ADDR_LE_STR_LEN];

    bt_addr_le_to_str(bt_conn_get_dst(conn), addr, sizeof(addr));

    g_passkey = -1;

    LOG_INF("Pairing cancelled: %s", log_strdup(addr));
}

static void auth_complete(struct bt_conn *conn, bool bonded)
{
    g_passkey = -1;

    LOG_INF("Pairing result: %s", bonded ? "OK":"Fail");
}

static void auth_failed(struct bt_conn *conn, enum bt_security_err reason)
{
    g_passkey = -1;

    LOG_INF("Pairing failed: reason:%d", reason);
}

static struct bt_conn_auth_cb auth_cb_display = {
    .passkey_display = auth_passkey_display,
    .passkey_entry = NULL,
    .cancel = auth_cancel,
    .pairing_complete = auth_complete,
    .pairing_failed = auth_failed,
};

int passkey_get(void){
    return g_passkey;
}

int start_le_adv(){
    local_adv = 1;
    return bt_le_adv_start(BT_LE_ADV_CONN_NAME, ad, ARRAY_SIZE(ad), NULL, 0);
}

int stop_le_adv(){
    local_adv = 0;
    return bt_le_adv_stop();
}

static void bt_ready(int err){
    if (err) LOG_ERR("Bluetooth init failed (err %d)", err);
    settings_load();

    LOG_INF("Bluetooth initialized");

    bt_conn_cb_register(&conn_callbacks);
    bt_conn_auth_cb_register(&auth_cb_display);
    err = start_le_adv();
    if (err) {
        LOG_INF("Advertising failed to start (err %d)", err);
        return;
    }
    local_adv = 1;

    LOG_INF("Advertising successfully started");    
}

static void attrs_post_init(){
    Z_STRUCT_SECTION_FOREACH(bt_gatt_service_static, static_svc) {
        for (int i = 0; i < static_svc->attr_count; i++) {
            const struct bt_gatt_attr * attr_ptr = &static_svc->attrs[i];
            
            if (IS_ATTR_LOCAL(attr_ptr->user_data)){
                local_attr_info_t * info = (local_attr_info_t*) attr_ptr->user_data;
                info->attr_ptr = attr_ptr;
                uint16_t handle = find_static_handle_for_attr(attr_ptr);
                const struct bt_gatt_attr * attr1 = find_static_attr_by_handle(handle - 1);
            
                if ((attr1) && !bt_uuid_cmp(attr1->uuid, BT_UUID_GATT_CHRC)) {
                    struct bt_gatt_chrc *chrc = attr1->user_data;
                    info->properties = chrc->properties;
                }                
                LOG_DBG("Local ID 0x%x bound to UUID %s Properties=0x%x handle=%d",
                    get_local_id(info), bt_uuid_str(attr_ptr->uuid), info->properties, handle);
            }
        }
    }
}

int bt_init(void)
{
    int err;

    err = bt_enable(NULL);
    if (err) {
        LOG_ERR("Bluetooth init failed (err %d)", err);
        return err;
    }
    bt_ready(err);

    attrs_post_init();

    k_work_q_start(&notify_work_q, notify_stack, K_THREAD_STACK_SIZEOF(notify_stack), NOTIFY_PRIORITY);
    k_work_init(&mls_notify_work, mls_send);
    k_thread_name_set(&notify_work_q.thread, "Custom BT notify");

    return 0;
}

int bt_unpair_all(){
    return bt_unpair(BT_ID_DEFAULT, BT_ADDR_LE_ANY);
}

void _diconnect(struct bt_conn * conn, void * data){
    (void) data;
    if (conn) bt_conn_disconnect(conn, BT_HCI_ERR_REMOTE_POWER_OFF);
}

int bt_adv_enable_set(int enable){
    if (enable){
        return start_le_adv();
    } else {
        int rv = stop_le_adv();
        bt_conn_foreach(BT_CONN_TYPE_ALL, _diconnect, 0);
        return rv;
    }
}

int bt_adv_status_get(){
    return local_adv;
}

int bt_conn_count_get(){
    return local_conn;
}

int bt_max_sec_get(){
    int rv = -1;
    for (int i = 0; i < CONFIG_BT_MAX_CONN; ++i){
        if (bt_sec_levels[i]){
            int level = bt_sec_levels[i] - 0x100;
            if (level > rv) rv = level;
        }
    }
    return rv;
}

void notify_by_mask(uint32_t mask){
    if (!local_conn){
        LOG_DBG("Skip notify by mask 0x%x, no connection", mask);
        return;
    }
    for (int i = LOCAL_ATTR_WRONG_ID + 1; i <LOCAL_ATTR_LAST; ++i){
        if (mask & BIT(i)) {
            int rv = notify_def(i, NULL);
            LOG_DBG("Notify local_id=%d res = %d", i, rv);
        }
    }
}
```

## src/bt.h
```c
#ifndef BT_H
#define BT_H
#ifdef __cplusplus
extern "C" {
#endif


typedef enum {
    LOCAL_ATTR_WRONG_ID = 0,
    LOCAL_ATTR_TIME = 1,
    LOCAL_ATTR_TEMPERATURE = 2,
    LOCAL_ATTR_HUMIDITY = 3,
    LOCAL_ATTR_PRESSURE = 4,
    LOCAL_ATTR_MLS_INFO = 5,
    LOCAL_ATTR_LAST = 6,
} attr_id_e;

int bt_init(void);
int passkey_get(void);
void bas_notify_demo(void);

int bt_unpair_all();
int bt_adv_enable_set(int enable);
int bt_adv_status_get();
int bt_conn_count_get();
int bt_max_sec_get();
void notify_by_mask(uint32_t mask);


// abcd0123-2fd0-11ea-978f-2e728ce88125
#define UUID_MLS_SERVICE_INITIALIZER   0x25, 0x81, 0xe8, 0x8c, 0x72, 0x2e, 0x8f, 0x97, 0xea, 0x11, 0xd0, 0x2f, 0x00, 0x00, 0xcd, 0xab
#define UUID_MLS_INFO_INITIALIZER      0x25, 0x81, 0xe8, 0x8c, 0x72, 0x2e, 0x8f, 0x97, 0xea, 0x11, 0xd0, 0x2f, 0x01, 0x00, 0xcd, 0xab
#define UUID_MLS_MESSAGE_INITIALIZER   0x25, 0x81, 0xe8, 0x8c, 0x72, 0x2e, 0x8f, 0x97, 0xea, 0x11, 0xd0, 0x2f, 0x02, 0x00, 0xcd, 0xab

typedef struct __attribute__((__packed__)) mls_info_s {
    uint16_t number_of_points;
    uint16_t interval_secs;
    uint32_t timestamp;
    uint32_t cur_point;
    uint32_t prev_point;
} mls_info_t;

#ifdef __cplusplus
}
#endif

#endif
```

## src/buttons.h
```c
#ifndef BUTTONS_H
#define BUTTONS_H


#ifdef __cplusplus
extern "C" {
#endif

void buttons_init(void);
void get_button_status(int32_t *button_num, int32_t *bcntr);
void buttons_set_listener(k_tid_t _wake_tid);
uint32_t process_button_status(int32_t *button_num, int32_t *bcntr, uint32_t nevents);

#ifdef __cplusplus
}
#endif

#endif
```

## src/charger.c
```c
#include <zephyr.h>
#include <kernel.h>
#include <drivers/adc.h>
#include <drivers/gpio.h>
#include <init.h>


#define CHG_NODE DT_NODELABEL(charger_gpio)
#define CHG_NAME DT_LABEL(CHG_NODE)

#if DT_NODE_EXISTS(CHG_NODE)

static struct device * pg_dev;
static struct device * chg_dev;

static int charger_gpio_init(struct device * dptr){
    (void) dptr;
#if DT_NODE_EXISTS(DT_PROP(CHG_NODE, charge_gpios))
    chg_dev = device_get_binding(DT_GPIO_LABEL(CHG_NODE, charge_gpios));
    if (chg_dev){
       gpio_pin_configure(chg_dev, DT_GPIO_PIN(CHG_NODE, charge_gpios), 
             GPIO_INPUT | DT_GPIO_FLAGS(CHG_NODE, charge_gpios));
    }
#endif
#if DT_NODE_EXISTS(DT_PROP(CHG_NODE, power_good_gpios))
    pg_dev = device_get_binding(DT_GPIO_LABEL(CHG_NODE, power_good_gpios));
    if (pg_dev){
       gpio_pin_configure(pg_dev, DT_GPIO_PIN(CHG_NODE, power_good_gpios), 
             GPIO_INPUT | DT_GPIO_FLAGS(CHG_NODE, power_good_gpios));
    }
#endif    
    return 0;
}

int charger_is_charging(){
    if (chg_dev){
        int res = gpio_pin_get(chg_dev, DT_GPIO_PIN(CHG_NODE, charge_gpios));
        return res > 0;
    } else {
        return 0;
    }
}

int charger_power_good(){
    if (pg_dev){
        int res = gpio_pin_get(pg_dev, DT_GPIO_PIN(CHG_NODE, power_good_gpios));
        return res > 0;
    } else {
        return 0;
    }
}

// Power enable GPIO init should occur after GPIO but before drivers
SYS_INIT(charger_gpio_init, POST_KERNEL, CONFIG_KERNEL_INIT_PRIORITY_DEVICE);

#else

int charger_is_charging(){
    return 0;
}

int charger_power_good(){
    return 0;
}

#endif
```

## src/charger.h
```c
#ifndef _CHARGER_H
#define _CHARGER_H

#ifdef __cplusplus
extern "C" {
#endif

int charger_is_charging();
int charger_power_good();

#ifdef __cplusplus
}
#endif

#endif
```
